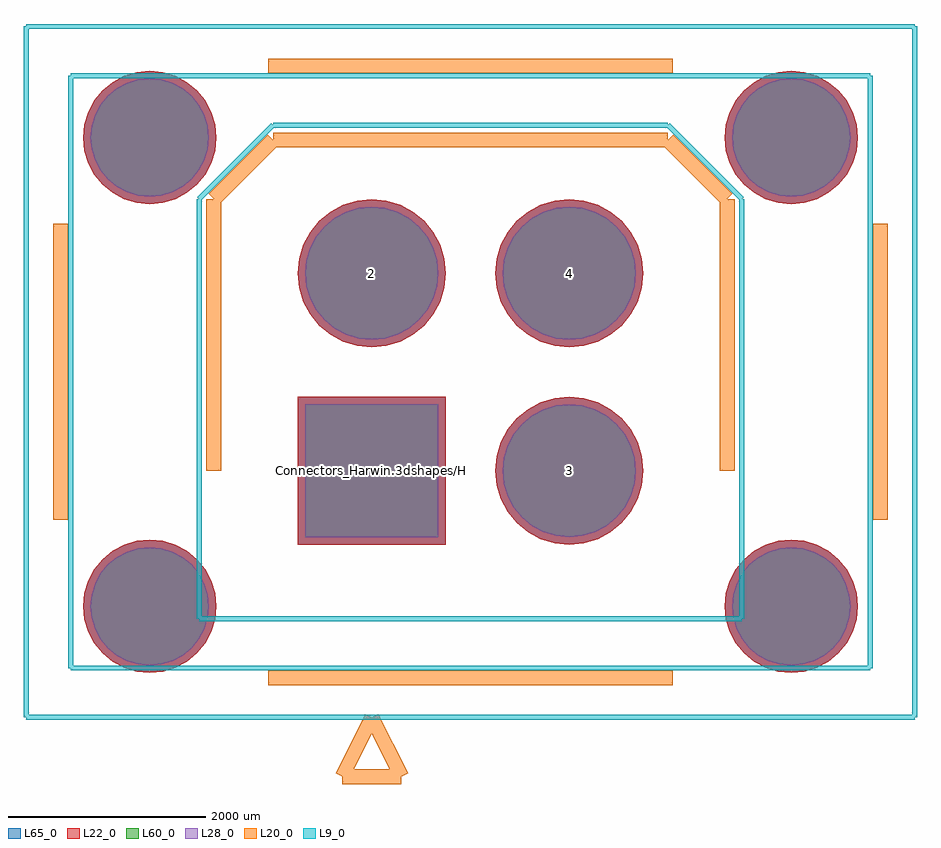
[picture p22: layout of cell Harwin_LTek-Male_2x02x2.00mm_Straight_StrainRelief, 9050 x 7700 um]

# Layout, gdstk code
import gdstk
lib = gdstk.Library(unit=1e-6, precision=1e-09)
def R(c, l, rs):  # rectangles x0, y0, x1, y1
    for r in rs: c.add(gdstk.rectangle(r[:2], r[2:], *l))
def P(c, l, *ps):  # polygons
    for p in ps: c.add(gdstk.Polygon(p, *l))
L9_0 = (9, 0)
L20_0 = (20, 0)
L22_0 = (22, 0)
L28_0 = (28, 0)
L60_0 = (60, 0)
L65_0 = (65, 0)

harwin_ltek_male_2x02x2_ = lib.new_cell('Harwin_LTek-Male_2x02x2.00mm_Straight_StrainRelief')
R(harwin_ltek_male_2x02x2_, L22_0, [(-750,-750,750,750)])
P(harwin_ltek_male_2x02x2_, L22_0, [(4925,-1375),(4912.03,-1243.314),(4873.619,-1116.689),(4811.242,-999.99),(4727.297,-897.703),(4625.01,-813.758),(4508.311,-751.381),(4381.686,-712.97),(4250,-700),(4118.314,-712.97),(3991.689,-751.381),(3874.99,-813.758),(3772.703,-897.703),(3688.758,-999.99),(3626.381,-1116.689),(3587.97,-1243.314),(3575,-1375),(3587.97,-1506.686),(3626.381,-1633.311),(3688.758,-1750.01),(3772.703,-1852.297),(3874.99,-1936.242),(3991.689,-1998.619),(4118.314,-2037.03),(4250,-2050),(4381.686,-2037.03),(4508.311,-1998.619),(4625.01,-1936.242),(4727.297,-1852.297),(4811.242,-1750.01),(4873.619,-1633.311),(4912.03,-1506.686)],
  [(4925,3375),(4912.03,3506.686),(4873.619,3633.311),(4811.242,3750.01),(4727.297,3852.297),(4625.01,3936.242),(4508.311,3998.619),(4381.686,4037.03),(4250,4050),(4118.314,4037.03),(3991.689,3998.619),(3874.99,3936.242),(3772.703,3852.297),(3688.758,3750.01),(3626.381,3633.311),(3587.97,3506.686),(3575,3375),(3587.97,3243.314),(3626.381,3116.689),(3688.758,2999.99),(3772.703,2897.703),(3874.99,2813.758),(3991.689,2751.381),(4118.314,2712.97),(4250,2700),(4381.686,2712.97),(4508.311,2751.381),(4625.01,2813.758),(4727.297,2897.703),(4811.242,2999.99),(4873.619,3116.689),(4912.03,3243.314)],
  [(-1575,-1375),(-1587.97,-1243.314),(-1626.381,-1116.689),(-1688.758,-999.99),(-1772.703,-897.703),(-1874.99,-813.758),(-1991.689,-751.381),(-2118.314,-712.97),(-2250,-700),(-2381.686,-712.97),(-2508.311,-751.381),(-2625.01,-813.758),(-2727.297,-897.703),(-2811.242,-999.99),(-2873.619,-1116.689),(-2912.03,-1243.314),(-2925,-1375),(-2912.03,-1506.686),(-2873.619,-1633.311),(-2811.242,-1750.01),(-2727.297,-1852.297),(-2625.01,-1936.242),(-2508.311,-1998.619),(-2381.686,-2037.03),(-2250,-2050),(-2118.314,-2037.03),(-1991.689,-1998.619),(-1874.99,-1936.242),(-1772.703,-1852.297),(-1688.758,-1750.01),(-1626.381,-1633.311),(-1587.97,-1506.686)],
  [(-1575,3375),(-1587.97,3506.686),(-1626.381,3633.311),(-1688.758,3750.01),(-1772.703,3852.297),(-1874.99,3936.242),(-1991.689,3998.619),(-2118.314,4037.03),(-2250,4050),(-2381.686,4037.03),(-2508.311,3998.619),(-2625.01,3936.242),(-2727.297,3852.297),(-2811.242,3750.01),(-2873.619,3633.311),(-2912.03,3506.686),(-2925,3375),(-2912.03,3243.314),(-2873.619,3116.689),(-2811.242,2999.99),(-2727.297,2897.703),(-2625.01,2813.758),(-2508.311,2751.381),(-2381.686,2712.97),(-2250,2700),(-2118.314,2712.97),(-1991.689,2751.381),(-1874.99,2813.758),(-1772.703,2897.703),(-1688.758,2999.99),(-1626.381,3116.689),(-1587.97,3243.314)],
  [(2750,2000),(2735.589,2146.318),(2692.91,2287.013),(2623.602,2416.678),(2530.33,2530.33),(2416.678,2623.602),(2287.013,2692.91),(2146.318,2735.589),(2000,2750),(1853.682,2735.589),(1712.987,2692.91),(1583.322,2623.602),(1469.67,2530.33),(1376.398,2416.678),(1307.09,2287.013),(1264.411,2146.318),(1250,2000),(1264.411,1853.682),(1307.09,1712.987),(1376.398,1583.322),(1469.67,1469.67),(1583.322,1376.398),(1712.987,1307.09),(1853.682,1264.411),(2000,1250),(2146.318,1264.411),(2287.013,1307.09),(2416.678,1376.398),(2530.33,1469.67),(2623.602,1583.322),(2692.91,1712.987),(2735.589,1853.682)],
  [(750,2000),(735.589,2146.318),(692.91,2287.013),(623.602,2416.678),(530.33,2530.33),(416.678,2623.602),(287.013,2692.91),(146.318,2735.589),(0,2750),(-146.318,2735.589),(-287.013,2692.91),(-416.678,2623.602),(-530.33,2530.33),(-623.602,2416.678),(-692.91,2287.013),(-735.589,2146.318),(-750,2000),(-735.589,1853.682),(-692.91,1712.987),(-623.602,1583.322),(-530.33,1469.67),(-416.678,1376.398),(-287.013,1307.09),(-146.318,1264.411),(0,1250),(146.318,1264.411),(287.013,1307.09),(416.678,1376.398),(530.33,1469.67),(623.602,1583.322),(692.91,1712.987),(735.589,1853.682)],
  [(2750,0),(2735.589,146.318),(2692.91,287.013),(2623.602,416.678),(2530.33,530.33),(2416.678,623.602),(2287.013,692.91),(2146.318,735.589),(2000,750),(1853.682,735.589),(1712.987,692.91),(1583.322,623.602),(1469.67,530.33),(1376.398,416.678),(1307.09,287.013),(1264.411,146.318),(1250,0),(1264.411,-146.318),(1307.09,-287.013),(1376.398,-416.678),(1469.67,-530.33),(1583.322,-623.602),(1712.987,-692.91),(1853.682,-735.589),(2000,-750),(2146.318,-735.589),(2287.013,-692.91),(2416.678,-623.602),(2530.33,-530.33),(2623.602,-416.678),(2692.91,-287.013),(2735.589,-146.318)])
R(harwin_ltek_male_2x02x2_, L28_0, [(-675,-675,675,675)])
P(harwin_ltek_male_2x02x2_, L28_0, [(4850,-1375),(4838.471,-1257.946),(4804.328,-1145.39),(4748.882,-1041.658),(4674.264,-950.736),(4583.342,-876.118),(4479.61,-820.672),(4367.054,-786.529),(4250,-775),(4132.946,-786.529),(4020.39,-820.672),(3916.658,-876.118),(3825.736,-950.736),(3751.118,-1041.658),(3695.672,-1145.39),(3661.529,-1257.946),(3650,-1375),(3661.529,-1492.054),(3695.672,-1604.61),(3751.118,-1708.342),(3825.736,-1799.264),(3916.658,-1873.882),(4020.39,-1929.328),(4132.946,-1963.471),(4250,-1975),(4367.054,-1963.471),(4479.61,-1929.328),(4583.342,-1873.882),(4674.264,-1799.264),(4748.882,-1708.342),(4804.328,-1604.61),(4838.471,-1492.054)],
  [(4850,3375),(4838.471,3492.054),(4804.328,3604.61),(4748.882,3708.342),(4674.264,3799.264),(4583.342,3873.882),(4479.61,3929.328),(4367.054,3963.471),(4250,3975),(4132.946,3963.471),(4020.39,3929.328),(3916.658,3873.882),(3825.736,3799.264),(3751.118,3708.342),(3695.672,3604.61),(3661.529,3492.054),(3650,3375),(3661.529,3257.946),(3695.672,3145.39),(3751.118,3041.658),(3825.736,2950.736),(3916.658,2876.118),(4020.39,2820.672),(4132.946,2786.529),(4250,2775),(4367.054,2786.529),(4479.61,2820.672),(4583.342,2876.118),(4674.264,2950.736),(4748.882,3041.658),(4804.328,3145.39),(4838.471,3257.946)],
  [(-1650,-1375),(-1661.529,-1257.946),(-1695.672,-1145.39),(-1751.118,-1041.658),(-1825.736,-950.736),(-1916.658,-876.118),(-2020.39,-820.672),(-2132.946,-786.529),(-2250,-775),(-2367.054,-786.529),(-2479.61,-820.672),(-2583.342,-876.118),(-2674.264,-950.736),(-2748.882,-1041.658),(-2804.328,-1145.39),(-2838.471,-1257.946),(-2850,-1375),(-2838.471,-1492.054),(-2804.328,-1604.61),(-2748.882,-1708.342),(-2674.264,-1799.264),(-2583.342,-1873.882),(-2479.61,-1929.328),(-2367.054,-1963.471),(-2250,-1975),(-2132.946,-1963.471),(-2020.39,-1929.328),(-1916.658,-1873.882),(-1825.736,-1799.264),(-1751.118,-1708.342),(-1695.672,-1604.61),(-1661.529,-1492.054)],
  [(-1650,3375),(-1661.529,3492.054),(-1695.672,3604.61),(-1751.118,3708.342),(-1825.736,3799.264),(-1916.658,3873.882),(-2020.39,3929.328),(-2132.946,3963.471),(-2250,3975),(-2367.054,3963.471),(-2479.61,3929.328),(-2583.342,3873.882),(-2674.264,3799.264),(-2748.882,3708.342),(-2804.328,3604.61),(-2838.471,3492.054),(-2850,3375),(-2838.471,3257.946),(-2804.328,3145.39),(-2748.882,3041.658),(-2674.264,2950.736),(-2583.342,2876.118),(-2479.61,2820.672),(-2367.054,2786.529),(-2250,2775),(-2132.946,2786.529),(-2020.39,2820.672),(-1916.658,2876.118),(-1825.736,2950.736),(-1751.118,3041.658),(-1695.672,3145.39),(-1661.529,3257.946)],
  [(2675,2000),(2662.03,2131.686),(2623.619,2258.311),(2561.242,2375.01),(2477.297,2477.297),(2375.01,2561.242),(2258.311,2623.619),(2131.686,2662.03),(2000,2675),(1868.314,2662.03),(1741.689,2623.619),(1624.99,2561.242),(1522.703,2477.297),(1438.758,2375.01),(1376.381,2258.311),(1337.97,2131.686),(1325,2000),(1337.97,1868.314),(1376.381,1741.689),(1438.758,1624.99),(1522.703,1522.703),(1624.99,1438.758),(1741.689,1376.381),(1868.314,1337.97),(2000,1325),(2131.686,1337.97),(2258.311,1376.381),(2375.01,1438.758),(2477.297,1522.703),(2561.242,1624.99),(2623.619,1741.689),(2662.03,1868.314)],
  [(675,2000),(662.03,2131.686),(623.619,2258.311),(561.242,2375.01),(477.297,2477.297),(375.01,2561.242),(258.311,2623.619),(131.686,2662.03),(0,2675),(-131.686,2662.03),(-258.311,2623.619),(-375.01,2561.242),(-477.297,2477.297),(-561.242,2375.01),(-623.619,2258.311),(-662.03,2131.686),(-675,2000),(-662.03,1868.314),(-623.619,1741.689),(-561.242,1624.99),(-477.297,1522.703),(-375.01,1438.758),(-258.311,1376.381),(-131.686,1337.97),(0,1325),(131.686,1337.97),(258.311,1376.381),(375.01,1438.758),(477.297,1522.703),(561.242,1624.99),(623.619,1741.689),(662.03,1868.314)],
  [(2675,0),(2662.03,131.686),(2623.619,258.311),(2561.242,375.01),(2477.297,477.297),(2375.01,561.242),(2258.311,623.619),(2131.686,662.03),(2000,675),(1868.314,662.03),(1741.689,623.619),(1624.99,561.242),(1522.703,477.297),(1438.758,375.01),(1376.381,258.311),(1337.97,131.686),(1325,0),(1337.97,-131.686),(1376.381,-258.311),(1438.758,-375.01),(1522.703,-477.297),(1624.99,-561.242),(1741.689,-623.619),(1868.314,-662.03),(2000,-675),(2131.686,-662.03),(2258.311,-623.619),(2375.01,-561.242),(2477.297,-477.297),(2561.242,-375.01),(2623.619,-258.311),(2662.03,-131.686)])
R(harwin_ltek_male_2x02x2_, L60_0, [(-675,-675,675,675)])
P(harwin_ltek_male_2x02x2_, L60_0, [(4850,-1375),(4838.471,-1257.946),(4804.328,-1145.39),(4748.882,-1041.658),(4674.264,-950.736),(4583.342,-876.118),(4479.61,-820.672),(4367.054,-786.529),(4250,-775),(4132.946,-786.529),(4020.39,-820.672),(3916.658,-876.118),(3825.736,-950.736),(3751.118,-1041.658),(3695.672,-1145.39),(3661.529,-1257.946),(3650,-1375),(3661.529,-1492.054),(3695.672,-1604.61),(3751.118,-1708.342),(3825.736,-1799.264),(3916.658,-1873.882),(4020.39,-1929.328),(4132.946,-1963.471),(4250,-1975),(4367.054,-1963.471),(4479.61,-1929.328),(4583.342,-1873.882),(4674.264,-1799.264),(4748.882,-1708.342),(4804.328,-1604.61),(4838.471,-1492.054)],
  [(4850,3375),(4838.471,3492.054),(4804.328,3604.61),(4748.882,3708.342),(4674.264,3799.264),(4583.342,3873.882),(4479.61,3929.328),(4367.054,3963.471),(4250,3975),(4132.946,3963.471),(4020.39,3929.328),(3916.658,3873.882),(3825.736,3799.264),(3751.118,3708.342),(3695.672,3604.61),(3661.529,3492.054),(3650,3375),(3661.529,3257.946),(3695.672,3145.39),(3751.118,3041.658),(3825.736,2950.736),(3916.658,2876.118),(4020.39,2820.672),(4132.946,2786.529),(4250,2775),(4367.054,2786.529),(4479.61,2820.672),(4583.342,2876.118),(4674.264,2950.736),(4748.882,3041.658),(4804.328,3145.39),(4838.471,3257.946)],
  [(-1650,-1375),(-1661.529,-1257.946),(-1695.672,-1145.39),(-1751.118,-1041.658),(-1825.736,-950.736),(-1916.658,-876.118),(-2020.39,-820.672),(-2132.946,-786.529),(-2250,-775),(-2367.054,-786.529),(-2479.61,-820.672),(-2583.342,-876.118),(-2674.264,-950.736),(-2748.882,-1041.658),(-2804.328,-1145.39),(-2838.471,-1257.946),(-2850,-1375),(-2838.471,-1492.054),(-2804.328,-1604.61),(-2748.882,-1708.342),(-2674.264,-1799.264),(-2583.342,-1873.882),(-2479.61,-1929.328),(-2367.054,-1963.471),(-2250,-1975),(-2132.946,-1963.471),(-2020.39,-1929.328),(-1916.658,-1873.882),(-1825.736,-1799.264),(-1751.118,-1708.342),(-1695.672,-1604.61),(-1661.529,-1492.054)],
  [(-1650,3375),(-1661.529,3492.054),(-1695.672,3604.61),(-1751.118,3708.342),(-1825.736,3799.264),(-1916.658,3873.882),(-2020.39,3929.328),(-2132.946,3963.471),(-2250,3975),(-2367.054,3963.471),(-2479.61,3929.328),(-2583.342,3873.882),(-2674.264,3799.264),(-2748.882,3708.342),(-2804.328,3604.61),(-2838.471,3492.054),(-2850,3375),(-2838.471,3257.946),(-2804.328,3145.39),(-2748.882,3041.658),(-2674.264,2950.736),(-2583.342,2876.118),(-2479.61,2820.672),(-2367.054,2786.529),(-2250,2775),(-2132.946,2786.529),(-2020.39,2820.672),(-1916.658,2876.118),(-1825.736,2950.736),(-1751.118,3041.658),(-1695.672,3145.39),(-1661.529,3257.946)],
  [(2675,2000),(2662.03,2131.686),(2623.619,2258.311),(2561.242,2375.01),(2477.297,2477.297),(2375.01,2561.242),(2258.311,2623.619),(2131.686,2662.03),(2000,2675),(1868.314,2662.03),(1741.689,2623.619),(1624.99,2561.242),(1522.703,2477.297),(1438.758,2375.01),(1376.381,2258.311),(1337.97,2131.686),(1325,2000),(1337.97,1868.314),(1376.381,1741.689),(1438.758,1624.99),(1522.703,1522.703),(1624.99,1438.758),(1741.689,1376.381),(1868.314,1337.97),(2000,1325),(2131.686,1337.97),(2258.311,1376.381),(2375.01,1438.758),(2477.297,1522.703),(2561.242,1624.99),(2623.619,1741.689),(2662.03,1868.314)],
  [(675,2000),(662.03,2131.686),(623.619,2258.311),(561.242,2375.01),(477.297,2477.297),(375.01,2561.242),(258.311,2623.619),(131.686,2662.03),(0,2675),(-131.686,2662.03),(-258.311,2623.619),(-375.01,2561.242),(-477.297,2477.297),(-561.242,2375.01),(-623.619,2258.311),(-662.03,2131.686),(-675,2000),(-662.03,1868.314),(-623.619,1741.689),(-561.242,1624.99),(-477.297,1522.703),(-375.01,1438.758),(-258.311,1376.381),(-131.686,1337.97),(0,1325),(131.686,1337.97),(258.311,1376.381),(375.01,1438.758),(477.297,1522.703),(561.242,1624.99),(623.619,1741.689),(662.03,1868.314)],
  [(2675,0),(2662.03,131.686),(2623.619,258.311),(2561.242,375.01),(2477.297,477.297),(2375.01,561.242),(2258.311,623.619),(2131.686,662.03),(2000,675),(1868.314,662.03),(1741.689,623.619),(1624.99,561.242),(1522.703,477.297),(1438.758,375.01),(1376.381,258.311),(1337.97,131.686),(1325,0),(1337.97,-131.686),(1376.381,-258.311),(1438.758,-375.01),(1522.703,-477.297),(1624.99,-561.242),(1741.689,-623.619),(1868.314,-662.03),(2000,-675),(2131.686,-662.03),(2258.311,-623.619),(2375.01,-561.242),(2477.297,-477.297),(2561.242,-375.01),(2623.619,-258.311),(2662.03,-131.686)])
R(harwin_ltek_male_2x02x2_, L65_0, [(-750,-750,750,750)])
P(harwin_ltek_male_2x02x2_, L65_0, [(4925,-1375),(4912.03,-1243.314),(4873.619,-1116.689),(4811.242,-999.99),(4727.297,-897.703),(4625.01,-813.758),(4508.311,-751.381),(4381.686,-712.97),(4250,-700),(4118.314,-712.97),(3991.689,-751.381),(3874.99,-813.758),(3772.703,-897.703),(3688.758,-999.99),(3626.381,-1116.689),(3587.97,-1243.314),(3575,-1375),(3587.97,-1506.686),(3626.381,-1633.311),(3688.758,-1750.01),(3772.703,-1852.297),(3874.99,-1936.242),(3991.689,-1998.619),(4118.314,-2037.03),(4250,-2050),(4381.686,-2037.03),(4508.311,-1998.619),(4625.01,-1936.242),(4727.297,-1852.297),(4811.242,-1750.01),(4873.619,-1633.311),(4912.03,-1506.686)],
  [(4925,3375),(4912.03,3506.686),(4873.619,3633.311),(4811.242,3750.01),(4727.297,3852.297),(4625.01,3936.242),(4508.311,3998.619),(4381.686,4037.03),(4250,4050),(4118.314,4037.03),(3991.689,3998.619),(3874.99,3936.242),(3772.703,3852.297),(3688.758,3750.01),(3626.381,3633.311),(3587.97,3506.686),(3575,3375),(3587.97,3243.314),(3626.381,3116.689),(3688.758,2999.99),(3772.703,2897.703),(3874.99,2813.758),(3991.689,2751.381),(4118.314,2712.97),(4250,2700),(4381.686,2712.97),(4508.311,2751.381),(4625.01,2813.758),(4727.297,2897.703),(4811.242,2999.99),(4873.619,3116.689),(4912.03,3243.314)],
  [(-1575,-1375),(-1587.97,-1243.314),(-1626.381,-1116.689),(-1688.758,-999.99),(-1772.703,-897.703),(-1874.99,-813.758),(-1991.689,-751.381),(-2118.314,-712.97),(-2250,-700),(-2381.686,-712.97),(-2508.311,-751.381),(-2625.01,-813.758),(-2727.297,-897.703),(-2811.242,-999.99),(-2873.619,-1116.689),(-2912.03,-1243.314),(-2925,-1375),(-2912.03,-1506.686),(-2873.619,-1633.311),(-2811.242,-1750.01),(-2727.297,-1852.297),(-2625.01,-1936.242),(-2508.311,-1998.619),(-2381.686,-2037.03),(-2250,-2050),(-2118.314,-2037.03),(-1991.689,-1998.619),(-1874.99,-1936.242),(-1772.703,-1852.297),(-1688.758,-1750.01),(-1626.381,-1633.311),(-1587.97,-1506.686)],
  [(-1575,3375),(-1587.97,3506.686),(-1626.381,3633.311),(-1688.758,3750.01),(-1772.703,3852.297),(-1874.99,3936.242),(-1991.689,3998.619),(-2118.314,4037.03),(-2250,4050),(-2381.686,4037.03),(-2508.311,3998.619),(-2625.01,3936.242),(-2727.297,3852.297),(-2811.242,3750.01),(-2873.619,3633.311),(-2912.03,3506.686),(-2925,3375),(-2912.03,3243.314),(-2873.619,3116.689),(-2811.242,2999.99),(-2727.297,2897.703),(-2625.01,2813.758),(-2508.311,2751.381),(-2381.686,2712.97),(-2250,2700),(-2118.314,2712.97),(-1991.689,2751.381),(-1874.99,2813.758),(-1772.703,2897.703),(-1688.758,2999.99),(-1626.381,3116.689),(-1587.97,3243.314)],
  [(2750,2000),(2735.589,2146.318),(2692.91,2287.013),(2623.602,2416.678),(2530.33,2530.33),(2416.678,2623.602),(2287.013,2692.91),(2146.318,2735.589),(2000,2750),(1853.682,2735.589),(1712.987,2692.91),(1583.322,2623.602),(1469.67,2530.33),(1376.398,2416.678),(1307.09,2287.013),(1264.411,2146.318),(1250,2000),(1264.411,1853.682),(1307.09,1712.987),(1376.398,1583.322),(1469.67,1469.67),(1583.322,1376.398),(1712.987,1307.09),(1853.682,1264.411),(2000,1250),(2146.318,1264.411),(2287.013,1307.09),(2416.678,1376.398),(2530.33,1469.67),(2623.602,1583.322),(2692.91,1712.987),(2735.589,1853.682)],
  [(750,2000),(735.589,2146.318),(692.91,2287.013),(623.602,2416.678),(530.33,2530.33),(416.678,2623.602),(287.013,2692.91),(146.318,2735.589),(0,2750),(-146.318,2735.589),(-287.013,2692.91),(-416.678,2623.602),(-530.33,2530.33),(-623.602,2416.678),(-692.91,2287.013),(-735.589,2146.318),(-750,2000),(-735.589,1853.682),(-692.91,1712.987),(-623.602,1583.322),(-530.33,1469.67),(-416.678,1376.398),(-287.013,1307.09),(-146.318,1264.411),(0,1250),(146.318,1264.411),(287.013,1307.09),(416.678,1376.398),(530.33,1469.67),(623.602,1583.322),(692.91,1712.987),(735.589,1853.682)],
  [(2750,0),(2735.589,146.318),(2692.91,287.013),(2623.602,416.678),(2530.33,530.33),(2416.678,623.602),(2287.013,692.91),(2146.318,735.589),(2000,750),(1853.682,735.589),(1712.987,692.91),(1583.322,623.602),(1469.67,530.33),(1376.398,416.678),(1307.09,287.013),(1264.411,146.318),(1250,0),(1264.411,-146.318),(1307.09,-287.013),(1376.398,-416.678),(1469.67,-530.33),(1583.322,-623.602),(1712.987,-692.91),(1853.682,-735.589),(2000,-750),(2146.318,-735.589),(2287.013,-692.91),(2416.678,-623.602),(2530.33,-530.33),(2623.602,-416.678),(2692.91,-287.013),(2735.589,-146.318)])
harwin_ltek_male_2x02x2_.add(gdstk.FlexPath([(300,-3100),(0,-2500)], 149.998, ends="flush", simple_path=True, layer=20, datatype=0))  # L20_0
harwin_ltek_male_2x02x2_.add(gdstk.FlexPath([(-300,-3100),(300,-3100)], 149.998, ends="flush", simple_path=True, layer=20, datatype=0))  # L20_0
harwin_ltek_male_2x02x2_.add(gdstk.FlexPath([(0,-2500),(-300,-3100)], 149.998, ends="flush", simple_path=True, layer=20, datatype=0))  # L20_0
harwin_ltek_male_2x02x2_.add(gdstk.FlexPath([(3000,3350),(1000,3350)], 149.998, ends="flush", simple_path=True, layer=20, datatype=0))  # L20_0
harwin_ltek_male_2x02x2_.add(gdstk.FlexPath([(3600,2750),(3000,3350)], 149.998, ends="flush", simple_path=True, layer=20, datatype=0))  # L20_0
harwin_ltek_male_2x02x2_.add(gdstk.FlexPath([(3600,0),(3600,2750)], 149.998, ends="flush", simple_path=True, layer=20, datatype=0))  # L20_0
harwin_ltek_male_2x02x2_.add(gdstk.FlexPath([(-1000,3350),(1000,3350)], 149.998, ends="flush", simple_path=True, layer=20, datatype=0))  # L20_0
harwin_ltek_male_2x02x2_.add(gdstk.FlexPath([(-1600,2750),(-1000,3350)], 149.998, ends="flush", simple_path=True, layer=20, datatype=0))  # L20_0
harwin_ltek_male_2x02x2_.add(gdstk.FlexPath([(-1600,0),(-1600,2750)], 149.998, ends="flush", simple_path=True, layer=20, datatype=0))  # L20_0
harwin_ltek_male_2x02x2_.add(gdstk.FlexPath([(3750,-1500),(-1750,-1500)], 50, ends="flush", simple_path=True, layer=9, datatype=0))  # L9_0
harwin_ltek_male_2x02x2_.add(gdstk.FlexPath([(3750,2750),(3750,-1500)], 50, ends="flush", simple_path=True, layer=9, datatype=0))  # L9_0
harwin_ltek_male_2x02x2_.add(gdstk.FlexPath([(3000,3500),(3750,2750)], 50, ends="flush", simple_path=True, layer=9, datatype=0))  # L9_0
harwin_ltek_male_2x02x2_.add(gdstk.FlexPath([(-1000,3500),(3000,3500)], 50, ends="flush", simple_path=True, layer=9, datatype=0))  # L9_0
harwin_ltek_male_2x02x2_.add(gdstk.FlexPath([(-1750,2750),(-1000,3500)], 50, ends="flush", simple_path=True, layer=9, datatype=0))  # L9_0
harwin_ltek_male_2x02x2_.add(gdstk.FlexPath([(-1750,-1500),(-1750,2750)], 50, ends="flush", simple_path=True, layer=9, datatype=0))  # L9_0
harwin_ltek_male_2x02x2_.add(gdstk.FlexPath([(5050,4000),(-3050,4000)], 50, ends="flush", simple_path=True, layer=9, datatype=0))  # L9_0
harwin_ltek_male_2x02x2_.add(gdstk.FlexPath([(5050,-2000),(5050,4000)], 50, ends="flush", simple_path=True, layer=9, datatype=0))  # L9_0
harwin_ltek_male_2x02x2_.add(gdstk.FlexPath([(-3050,-2000),(5050,-2000)], 50, ends="flush", simple_path=True, layer=9, datatype=0))  # L9_0
harwin_ltek_male_2x02x2_.add(gdstk.FlexPath([(-3050,4000),(-3050,-2000)], 50, ends="flush", simple_path=True, layer=9, datatype=0))  # L9_0
harwin_ltek_male_2x02x2_.add(gdstk.FlexPath([(5500,4500),(-3500,4500)], 50, ends="flush", simple_path=True, layer=9, datatype=0))  # L9_0
harwin_ltek_male_2x02x2_.add(gdstk.FlexPath([(5500,-2500),(5500,4500)], 50, ends="flush", simple_path=True, layer=9, datatype=0))  # L9_0
harwin_ltek_male_2x02x2_.add(gdstk.FlexPath([(-3500,-2500),(5500,-2500)], 50, ends="flush", simple_path=True, layer=9, datatype=0))  # L9_0
harwin_ltek_male_2x02x2_.add(gdstk.FlexPath([(-3500,4500),(-3500,-2500)], 50, ends="flush", simple_path=True, layer=9, datatype=0))  # L9_0
harwin_ltek_male_2x02x2_.add(gdstk.FlexPath([(5150,2500),(5150,-500)], 149.998, ends="flush", simple_path=True, layer=20, datatype=0))  # L20_0
harwin_ltek_male_2x02x2_.add(gdstk.FlexPath([(-3150,2500),(-3150,-500)], 149.998, ends="flush", simple_path=True, layer=20, datatype=0))  # L20_0
harwin_ltek_male_2x02x2_.add(gdstk.FlexPath([(-1050,-2100),(3050,-2100)], 149.998, ends="flush", simple_path=True, layer=20, datatype=0))  # L20_0
harwin_ltek_male_2x02x2_.add(gdstk.FlexPath([(-1050,4100),(3050,4100)], 149.998, ends="flush", simple_path=True, layer=20, datatype=0))  # L20_0
harwin_ltek_male_2x02x2_.add(gdstk.Label('Connectors_Harwin.3dshapes/Harwin_LTek-Male_2x02x2.00mm_Straight_StrainRelief.wrl', (0,0), layer=12, texttype=0))
harwin_ltek_male_2x02x2_.add(gdstk.Label('4', (2000,2000), layer=28, texttype=0))
harwin_ltek_male_2x02x2_.add(gdstk.Label('2', (0,2000), layer=28, texttype=0))
harwin_ltek_male_2x02x2_.add(gdstk.Label('3', (2000,0), layer=28, texttype=0))
harwin_ltek_male_2x02x2_.add(gdstk.Label('1', (0,0), layer=28, texttype=0))
harwin_ltek_male_2x02x2_.add(gdstk.Label('type', (1000,-4000), layer=9, texttype=0))
harwin_ltek_male_2x02x2_.add(gdstk.Label('devicename', (1000,5500), layer=9, texttype=0))

lib.write_gds('Harwin_LTek-Male_2x02x2.00mm_Straight_StrainRelief.gds')
